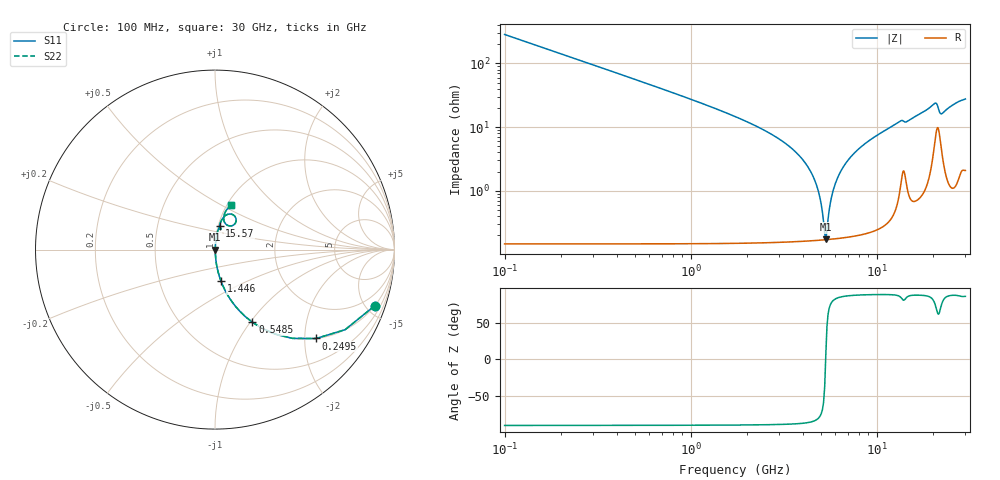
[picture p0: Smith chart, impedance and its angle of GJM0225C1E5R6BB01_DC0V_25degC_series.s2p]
!Murata Part Number: GJM0225C1E5R6BB01
!These Parameters are Measured in Series Mode Connection
!  o--ll--o
!Port1  Port2
!  o------o
!Operation Temp=25[degC], DC Bias Voltage=0[V]
!Freq. Start=100[MHz] Stop=30[GHz], 401[Steps]
!Data Generated on Feb 1, 2023
# Hz S RI R 50
!Freq.(Hz) S11(Real) S11(Imag) S21(Real) S21(Imag) S12(Real) S12(Imag) S22(Real) S22(Imag)
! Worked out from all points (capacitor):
!   401 points, 100 MHz to 30 GHz, reference 50 ohm
!   read as one part in series: C = 5.6 pF near 249.5 MHz
!   lowest |Z| = 173 mohm at 5.332 GHz (marker M1)
!   series resonance near 5.321 GHz, so ESL is about 160 pH
!   S11 on the Smith chart (normalised r, x): 100 MHz: 1.00, -5.68; 249.5 MHz: 1.00, -2.27; 548.5 MHz: 1.00, -1.03; 1.446 GHz: 1.00, -0.36; 15.57 GHz: 1.01, +0.28; 30 GHz: 1.04, +0.55
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1e8  0.8896 -0.3131  0.1104 0.3131  0.1104 0.3131  0.8896 -0.3131
2.495e8  0.5636 -0.4953  0.4364 0.4953  0.4364 0.4953  0.5636 -0.4953
5.485e8  0.2088 -0.405  0.7912 0.405  0.7912 0.405  0.2088 -0.405
8.475e8  0.0976 -0.2945  0.9024 0.2945  0.9024 0.2945  0.0976 -0.2945
1.4455e9  0.0335 -0.1758  0.9665 0.1758  0.9665 0.1758  0.0335 -0.1758
4.21125e9  0.00226 -0.0252  0.9977 0.0252  0.9977 0.0252  0.00226 -0.0252
4.80925e9  0.00179 -0.0108  0.9982 0.0108  0.9982 0.0108  0.00179 -0.0108
5.10825e9  0.00171 -0.00437  0.9983 0.00437  0.9983 0.00437  0.00171 -0.00437
5.25775e9  0.00171 -0.00129  0.9983 0.00129  0.9983 0.00129  0.00171 -0.00129
5.3325e9  0.00171 0.000223  0.9983 -0.000223  0.9983 -0.000223  0.00171 0.000223
5.85575e9  0.00186 0.0103  0.9981 -0.0103  0.9981 -0.0103  0.00186 0.0103
6.60325e9  0.00237 0.0233  0.9976 -0.0233  0.9976 -0.0233  0.00237 0.0233
7.94875e9  0.00396 0.0443  0.996 -0.0443  0.996 -0.0443  0.00396 0.0443
1.01165e10  0.00805 0.0745  0.9919 -0.0745  0.9919 -0.0745  0.00805 0.0745
1.333075e10  0.0243 0.1187  0.9757 -0.1187  0.9757 -0.1187  0.0243 0.1187
1.505e10  0.024 0.1258  0.976 -0.1258  0.976 -0.1258  0.024 0.1258
1.557325e10  0.0252 0.1338  0.9748 -0.1338  0.9748 -0.1338  0.0252 0.1338
2.005825e10  0.075 0.1975  0.925 -0.1975  0.925 -0.1975  0.075 0.1975
2.08805e10  0.1125 0.1826  0.8875 -0.1826  0.8875 -0.1826  0.1125 0.1826
2.215125e10  0.0691 0.1356  0.9309 -0.1356  0.9309 -0.1356  0.0691 0.1356
2.50665e10  0.053 0.1989  0.947 -0.1989  0.947 -0.1989  0.053 0.1989
3e10  0.0873 0.247  0.9127 -0.247  0.9127 -0.247  0.0873 0.247
